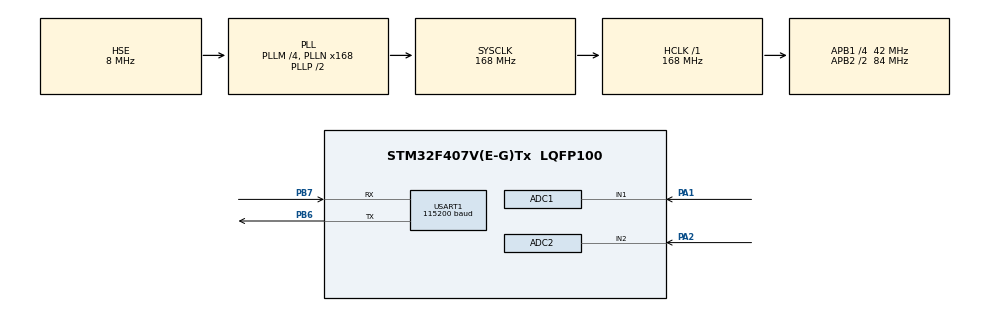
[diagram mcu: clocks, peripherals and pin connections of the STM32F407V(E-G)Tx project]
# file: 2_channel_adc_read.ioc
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ADC1.Channel-0\#ChannelRegularConversion=ADC_CHANNEL_1
ADC1.DiscontinuousConvMode=ENABLE
ADC1.NbrOfConversionFlag=1
ADC1.Rank-0\#ChannelRegularConversion=1
ADC1.SamplingTime-0\#ChannelRegularConversion=ADC_SAMPLETIME_3CYCLES
ADC1.master=1
ADC2.Channel-0\#ChannelRegularConversion=ADC_CHANNEL_2
ADC2.DiscontinuousConvMode=ENABLE
ADC2.NbrOfConversionFlag=1
ADC2.Rank-0\#ChannelRegularConversion=1
ADC2.SamplingTime-0\#ChannelRegularConversion=ADC_SAMPLETIME_3CYCLES
Mcu.Family=STM32F4
Mcu.Name=STM32F407V(E-G)Tx
Mcu.Package=LQFP100
NVIC.PriorityGroup=NVIC_PRIORITYGROUP_0
PA1.Signal=ADCx_IN1
PA2.Signal=ADCx_IN2
PB6.Mode=Asynchronous
PB6.Signal=USART1_TX
PB7.Mode=Asynchronous
PB7.Signal=USART1_RX
PH0-OSC_IN.Mode=HSE-External-Oscillator
PH0-OSC_IN.Signal=RCC_OSC_IN
PH1-OSC_OUT.Mode=HSE-External-Oscillator
PH1-OSC_OUT.Signal=RCC_OSC_OUT
ProjectManager.HeapSize=0x200
ProjectManager.StackSize=0x400
ProjectManager.TargetToolchain=EWARM
RCC.48MHZClocksFreq_Value=48000000
RCC.AHBFreq_Value=168000000
RCC.APB1CLKDivider=RCC_HCLK_DIV4
RCC.APB1Freq_Value=42000000
RCC.APB1TimFreq_Value=84000000
RCC.APB2CLKDivider=RCC_HCLK_DIV2
RCC.APB2Freq_Value=84000000
RCC.APB2TimFreq_Value=168000000
RCC.CortexFreq_Value=168000000
RCC.HCLKFreq_Value=168000000
RCC.HSE_VALUE=8000000
RCC.HSI_VALUE=16000000
RCC.LSE_VALUE=32768
RCC.PLLM=4
RCC.PLLN=168
RCC.PLLQ=7
RCC.PLLSourceVirtual=RCC_PLLSOURCE_HSE
RCC.SYSCLKFreq_VALUE=168000000
RCC.SYSCLKSource=RCC_SYSCLKSOURCE_PLLCLK
RCC.VCOOutputFreq_Value=336000000
SH.ADCx_IN1.0=ADC1_IN1,IN1
SH.ADCx_IN2.0=ADC2_IN2,IN2
USART1.BaudRate=115200
USART1.VirtualMode=VM_ASYNC
board=STM32F4DISCOVERY

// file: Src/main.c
/**
  ******************************************************************************
  * File Name          : main.c
  * Description        : Main program body
  ******************************************************************************
  ** This notice applies to any and all portions of this file
  * that are not between comment pairs USER CODE BEGIN and
  * USER CODE END. Other portions of this file, whether
  * inserted by the user or by software development tools
  * are owned by their respective copyright owners.
  *
  * COPYRIGHT(c) 2017 STMicroelectronics
  *
  * Redistribution and use in source and binary forms, with or without modification,
  * are permitted provided that the following conditions are met:
  *   1. Redistributions of source code must retain the above copyright notice,
  *      this list of conditions and the following disclaimer.
  *   2. Redistributions in binary form must reproduce the above copyright notice,
  *      this list of conditions and the following disclaimer in the documentation
  *      and/or other materials provided with the distribution.
  *   3. Neither the name of STMicroelectronics nor the names of its contributors
  *      may be used to endorse or promote products derived from this software
  *      without specific prior written permission.
  *
  * THIS SOFTWARE IS PROVIDED BY THE COPYRIGHT HOLDERS AND CONTRIBUTORS "AS IS"
  * AND ANY EXPRESS OR IMPLIED WARRANTIES, INCLUDING, BUT NOT LIMITED TO, THE
  * IMPLIED WARRANTIES OF MERCHANTABILITY AND FITNESS FOR A PARTICULAR PURPOSE ARE
  * DISCLAIMED. IN NO EVENT SHALL THE COPYRIGHT HOLDER OR CONTRIBUTORS BE LIABLE
  * FOR ANY DIRECT, INDIRECT, INCIDENTAL, SPECIAL, EXEMPLARY, OR CONSEQUENTIAL
  * DAMAGES (INCLUDING, BUT NOT LIMITED TO, PROCUREMENT OF SUBSTITUTE GOODS OR
  * SERVICES; LOSS OF USE, DATA, OR PROFITS; OR BUSINESS INTERRUPTION) HOWEVER
  * CAUSED AND ON ANY THEORY OF LIABILITY, WHETHER IN CONTRACT, STRICT LIABILITY,
  * OR TORT (INCLUDING NEGLIGENCE OR OTHERWISE) ARISING IN ANY WAY OUT OF THE USE
  * OF THIS SOFTWARE, EVEN IF ADVISED OF THE POSSIBILITY OF SUCH DAMAGE.
  *
  ******************************************************************************
  */

#include "main.h"
#include "stm32f4xx_hal.h"

ADC_HandleTypeDef hadc1;
ADC_HandleTypeDef hadc2;

UART_HandleTypeDef huart1;

/* USER CODE BEGIN PV */
/* Private variables ---------------------------------------------------------*/

/* USER CODE END PV */

void SystemClock_Config(void);
static void MX_GPIO_Init(void);
static void MX_ADC1_Init(void);
static void MX_ADC2_Init(void);
static void MX_USART1_UART_Init(void);

/* USER CODE BEGIN PFP */

/* Private function prototypes -----------------------------------------------*/
#ifdef __GNUC__
  /* With GCC/RAISONANCE, small printf (option LD Linker->Libraries->Small printf
     set to 'Yes') calls __io_putchar() */
  #define PUTCHAR_PROTOTYPE int __io_putchar(int ch)
#else
  #define PUTCHAR_PROTOTYPE int fputc(int ch, FILE *f)
#endif /* __GNUC__ */

/**
  * @brief  Retargets the C library printf function to the USART.
  * @param  None
  * @retval None
  */
PUTCHAR_PROTOTYPE
{
    /* Place your implementation of fputc here */
    /* e.g. write a character to the USART */
    HAL_UART_Transmit(&huart1, (uint8_t *)&ch, 1, 100);
    return ch;
}

/* USER CODE END PFP */

/* USER CODE BEGIN 0 */

  uint16_t adcData1, adcData2;   /* datas reads from ADC  */

/* USER CODE END 0 */

int main(void)
{

  /* MCU Configuration----------------------------------------------------------*/

  /* Reset of all peripherals, Initializes the Flash interface and the Systick. */
  HAL_Init();

  /* Configure the system clock */
  SystemClock_Config();

  /* Initialize all configured peripherals */
  MX_GPIO_Init();
  MX_ADC1_Init();
  MX_ADC2_Init();
  MX_USART1_UART_Init();

  /* Infinite loop */
  while (1)
  {

  /* USER CODE BEGIN 3 */
  HAL_ADC_Start(&hadc1);
  HAL_ADC_Start(&hadc2);
  HAL_ADC_PollForConversion(&hadc1,100);
  HAL_ADC_PollForConversion(&hadc2,100);
  adcData1 = HAL_ADC_GetValue(&hadc1);
  adcData2 = HAL_ADC_GetValue(&hadc2);
  adcData1 = (adcData1*3.0/4096)/0.01;
  printf("%d\r\n",adcData1);
  printf("%d\r\n",adcData2);
  HAL_Delay(100);
  }
  /* USER CODE END 3 */

}

/** System Clock Configuration
*/
void SystemClock_Config(void)
{

  RCC_OscInitTypeDef RCC_OscInitStruct;
  RCC_ClkInitTypeDef RCC_ClkInitStruct;

    /**Configure the main internal regulator output voltage
    */
  __HAL_RCC_PWR_CLK_ENABLE();

  __HAL_PWR_VOLTAGESCALING_CONFIG(PWR_REGULATOR_VOLTAGE_SCALE1);

    /**Initializes the CPU, AHB and APB busses clocks
    */
  RCC_OscInitStruct.OscillatorType = RCC_OSCILLATORTYPE_HSE;
  RCC_OscInitStruct.HSEState = RCC_HSE_ON;
  RCC_OscInitStruct.PLL.PLLState = RCC_PLL_ON;
  RCC_OscInitStruct.PLL.PLLSource = RCC_PLLSOURCE_HSE;
  RCC_OscInitStruct.PLL.PLLM = 4;
  RCC_OscInitStruct.PLL.PLLN = 168;
  RCC_OscInitStruct.PLL.PLLP = RCC_PLLP_DIV2;
  RCC_OscInitStruct.PLL.PLLQ = 7;
  if (HAL_RCC_OscConfig(&RCC_OscInitStruct) != HAL_OK)
  {
    _Error_Handler(__FILE__, __LINE__);
  }

    /**Initializes the CPU, AHB and APB busses clocks
    */
  RCC_ClkInitStruct.ClockType = RCC_CLOCKTYPE_HCLK|RCC_CLOCKTYPE_SYSCLK
                              |RCC_CLOCKTYPE_PCLK1|RCC_CLOCKTYPE_PCLK2;
  RCC_ClkInitStruct.SYSCLKSource = RCC_SYSCLKSOURCE_PLLCLK;
  RCC_ClkInitStruct.AHBCLKDivider = RCC_SYSCLK_DIV1;
  RCC_ClkInitStruct.APB1CLKDivider = RCC_HCLK_DIV4;
  RCC_ClkInitStruct.APB2CLKDivider = RCC_HCLK_DIV2;

  if (HAL_RCC_ClockConfig(&RCC_ClkInitStruct, FLASH_LATENCY_5) != HAL_OK)
  {
    _Error_Handler(__FILE__, __LINE__);
  }

    /**Configure the Systick interrupt time
    */
  HAL_SYSTICK_Config(HAL_RCC_GetHCLKFreq()/1000);

    /**Configure the Systick
    */
  HAL_SYSTICK_CLKSourceConfig(SYSTICK_CLKSOURCE_HCLK);

  /* SysTick_IRQn interrupt configuration */
  HAL_NVIC_SetPriority(SysTick_IRQn, 0, 0);
}

/* ADC1 init function */
static void MX_ADC1_Init(void)
{

  ADC_ChannelConfTypeDef sConfig;

    /**Configure the global features of the ADC (Clock, Resolution, Data Alignment and number of conversion)
    */
  hadc1.Instance = ADC1;
  hadc1.Init.ClockPrescaler = ADC_CLOCK_SYNC_PCLK_DIV4;
  hadc1.Init.Resolution = ADC_RESOLUTION_12B;
  hadc1.Init.ScanConvMode = DISABLE;
  hadc1.Init.ContinuousConvMode = DISABLE;
  hadc1.Init.DiscontinuousConvMode = ENABLE;
  hadc1.Init.NbrOfDiscConversion = 1;
  hadc1.Init.ExternalTrigConvEdge = ADC_EXTERNALTRIGCONVEDGE_NONE;
  hadc1.Init.ExternalTrigConv = ADC_SOFTWARE_START;
  hadc1.Init.DataAlign = ADC_DATAALIGN_RIGHT;
  hadc1.Init.NbrOfConversion = 1;
  hadc1.Init.DMAContinuousRequests = DISABLE;
  hadc1.Init.EOCSelection = ADC_EOC_SINGLE_CONV;
  if (HAL_ADC_Init(&hadc1) != HAL_OK)
  {
    _Error_Handler(__FILE__, __LINE__);
  }

    /**Configure for the selected ADC regular channel its corresponding rank in the sequencer and its sample time.
    */
  sConfig.Channel = ADC_CHANNEL_1;
  sConfig.Rank = 1;
  sConfig.SamplingTime = ADC_SAMPLETIME_3CYCLES;
  if (HAL_ADC_ConfigChannel(&hadc1, &sConfig) != HAL_OK)
  {
    _Error_Handler(__FILE__, __LINE__);
  }

}

/* ADC2 init function */
static void MX_ADC2_Init(void)
{

  ADC_ChannelConfTypeDef sConfig;

    /**Configure the global features of the ADC (Clock, Resolution, Data Alignment and number of conversion)
    */
  hadc2.Instance = ADC2;
  hadc2.Init.ClockPrescaler = ADC_CLOCK_SYNC_PCLK_DIV4;
  hadc2.Init.Resolution = ADC_RESOLUTION_12B;
  hadc2.Init.ScanConvMode = DISABLE;
  hadc2.Init.ContinuousConvMode = DISABLE;
  hadc2.Init.DiscontinuousConvMode = ENABLE;
  hadc2.Init.NbrOfDiscConversion = 1;
  hadc2.Init.ExternalTrigConvEdge = ADC_EXTERNALTRIGCONVEDGE_NONE;
  hadc2.Init.ExternalTrigConv = ADC_SOFTWARE_START;
  hadc2.Init.DataAlign = ADC_DATAALIGN_RIGHT;
  hadc2.Init.NbrOfConversion = 1;
  hadc2.Init.DMAContinuousRequests = DISABLE;
  hadc2.Init.EOCSelection = ADC_EOC_SINGLE_CONV;
  if (HAL_ADC_Init(&hadc2) != HAL_OK)
  {
    _Error_Handler(__FILE__, __LINE__);
  }

    /**Configure for the selected ADC regular channel its corresponding rank in the sequencer and its sample time.
    */
  sConfig.Channel = ADC_CHANNEL_2;
  sConfig.Rank = 1;
  sConfig.SamplingTime = ADC_SAMPLETIME_3CYCLES;
  if (HAL_ADC_ConfigChannel(&hadc2, &sConfig) != HAL_OK)
  {
    _Error_Handler(__FILE__, __LINE__);
  }

}

/* USART1 init function */
static void MX_USART1_UART_Init(void)
{

  huart1.Instance = USART1;
  huart1.Init.BaudRate = 115200;
  huart1.Init.WordLength = UART_WORDLENGTH_8B;
  huart1.Init.StopBits = UART_STOPBITS_1;
  huart1.Init.Parity = UART_PARITY_NONE;
  huart1.Init.Mode = UART_MODE_TX_RX;
  huart1.Init.HwFlowCtl = UART_HWCONTROL_NONE;
  huart1.Init.OverSampling = UART_OVERSAMPLING_16;
  if (HAL_UART_Init(&huart1) != HAL_OK)
  {
    _Error_Handler(__FILE__, __LINE__);
  }

}

/** Configure pins as
        * Analog
        * Input
        * Output
        * EVENT_OUT
        * EXTI
*/
static void MX_GPIO_Init(void)
{

  /* GPIO Ports Clock Enable */
  __HAL_RCC_GPIOH_CLK_ENABLE();
  __HAL_RCC_GPIOA_CLK_ENABLE();
  __HAL_RCC_GPIOB_CLK_ENABLE();

}

void _Error_Handler(char * file, int line)
{
  while(1)
  {
  }
}

/************************ (C) COPYRIGHT STMicroelectronics *****END OF FILE****/
